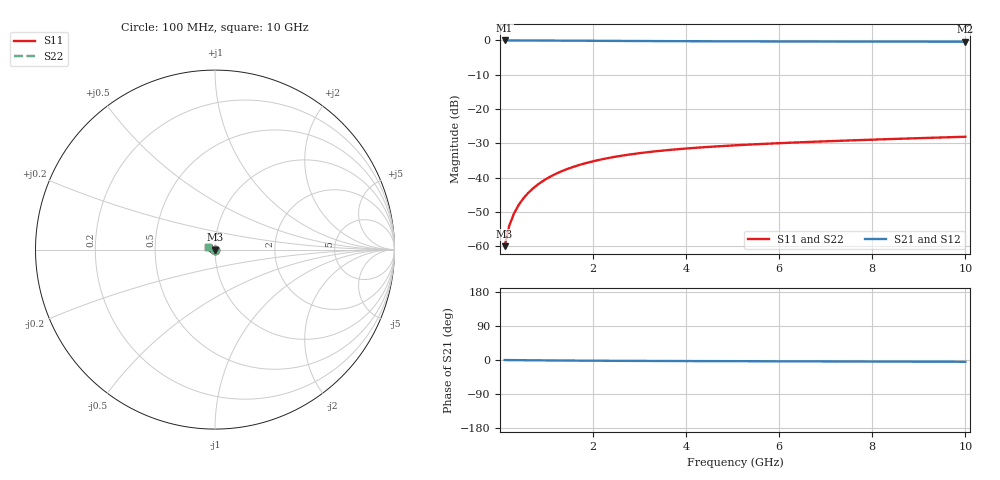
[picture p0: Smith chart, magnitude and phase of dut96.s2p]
! Touchstone file exported from HFSS 2024.1.0
!  File:  C:/UserFiles/LocalFiles/RDL_TSV_Batchsim/temp_TSV1_96_1778751942.aedt
!  Generated:  05:51:04 PM May 14, 2026
!  Design:  TSV1
!  Project:  temp_TSV1_96_1778751942
!  Setup:  Setup1
!  Solution:  Sweep
! Variables:
!  dtsv = 10.14um
!  hbump = 3um
!  htsv = 68.84um
!  lrdl = 252.1521522um
!  p = 40
!  p1 = 59.75um
!  t = 500um
!  trdl = 3um
!  wrdl = 24.89489489um
# GHz S MA R 50.000000
! Terminal data exported
! Port[1] = TSV22_T1
! Port[2] = TSV22_T2
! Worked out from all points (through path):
!   100 points, 100 MHz to 10 GHz, reference 50 ohm
!   highest |S21| = 0.00 dB at 100 MHz (marker M1); lowest = -0.4 dB at 10 GHz (marker M2)
!   lowest |S11| = -60.0 dB at 100 MHz (marker M3), VSWR 1.00, Z = 50 - j0.0999 ohm
!   |S11| at or under -10 dB: start of sweep to end of sweep
!   |S22| runs from -60.0 to -28.1 dB; largest |S21 - S12| = 3.9e-15
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0.1  0.001003 -84.9  0.9998 -0.1  0.9998 -0.1  0.001003 -84.9
! Gamma 0 0 0 0
! Port Impedance 50 0 50 0
0.2  0.001995 -90.5  0.9997 -0.2  0.9997 -0.2  0.001995 -90.5
0.3  0.002989 -93.9  0.9995 -0.3  0.9995 -0.3  0.002989 -93.9
0.4  0.003977 -96.6  0.9992 -0.5  0.9992 -0.5  0.003977 -96.6
0.5  0.004957 -99.1  0.9989 -0.6  0.9989 -0.6  0.004957 -99.1
0.6  0.005925 -101.5  0.9985 -0.7  0.9985 -0.7  0.005925 -101.5
0.7  0.006877 -103.9  0.998 -0.8  0.998 -0.8  0.006877 -103.9
0.8  0.007814 -106.1  0.9975 -0.9  0.9975 -0.9  0.007814 -106.1
0.9  0.008731 -108.3  0.9969 -1.0  0.9969 -1.0  0.008731 -108.3
1.1  0.0105 -112.5  0.9956 -1.2  0.9956 -1.2  0.0105 -112.5
1.4  0.01299 -118.6  0.9934 -1.4  0.9934 -1.4  0.01299 -118.6
1.6  0.01453 -122.4  0.9918 -1.6  0.9918 -1.6  0.01453 -122.4
1.8  0.01598 -126.1  0.9902 -1.7  0.9902 -1.7  0.01598 -126.1
2.1  0.01796 -131.3  0.9878 -1.9  0.9878 -1.9  0.01796 -131.3
2.5  0.02029 -137.7  0.9846 -2.2  0.9846 -2.2  0.02029 -137.7
2.9  0.0223 -143.5  0.9816 -2.4  0.9816 -2.4  0.0223 -143.5
3.4  0.02444 -150.2  0.9783 -2.6  0.9783 -2.6  0.02444 -150.2
4.2  0.02722 -159.4  0.9739 -2.9  0.9739 -2.9  0.02722 -159.4
5.1  0.02972 -168.2  0.97 -3.2  0.97 -3.2  0.02972 -168.2
6.7  0.03328 179.0  0.9654 -3.6  0.9654 -3.6  0.03328 179.0
8.4  0.03654 168.3  0.9622 -4.2  0.9622 -4.2  0.03654 168.3
10  0.03947 159.9  0.9602 -4.7  0.9602 -4.7  0.03947 159.9
